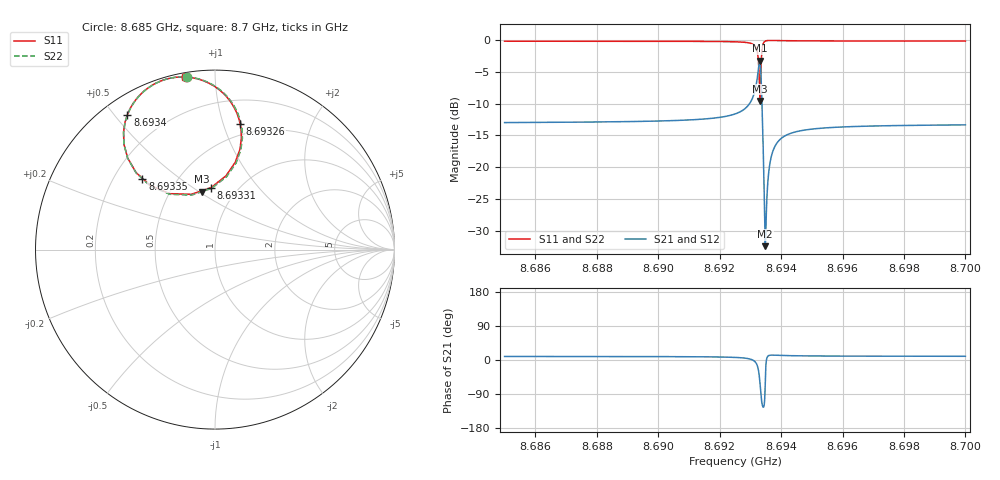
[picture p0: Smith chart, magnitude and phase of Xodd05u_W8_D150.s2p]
! Sonnet Data File
! From: emgraph Version : 16.52
! From Project: Qubit_Xmon2_brg_para2
! Data is De-embedded
! Data File Written: 11/12/2017 19:07:08
!< HDATE 11/12/2017 17:14:45
!< MDATE 11/12/2017 17:15:37
!< PARAMS
!< Lj = 11.0
!< Gap = 6.0
!< Pwid = 2000.0
!< Airgap = 6.0
!< Width = 10.0
!< Bwid = 8.0
!< Dis1 = 150.0
!< Dis2 = 156.0
!< END PARAMS
# GHZ S MA R 34.65000
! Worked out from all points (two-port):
!   3001 points, 8.685 GHz to 8.7 GHz, reference 34.65 ohm
!   highest |S21| = -3.30 dB at 8.69331 GHz (marker M1); lowest = -32.4 dB at 8.69349 GHz (marker M2)
!   |S21| within 3 dB of the highest: 8.693216 GHz to 8.693352 GHz (136.2 kHz wide, 0.00157 % of centre)
!   lowest |S11| = -9.6 dB at 8.69332 GHz (marker M3), VSWR 1.99, Z = 24.5 + j17.7 ohm
!   |S11| at or under -10 dB: nowhere
!   |S22| runs from -9.7 to -0.1 dB; largest |S21 - S12| = 0
!   S11 on the Smith chart (normalised r, x): 8.685 GHz: 0.02, +0.85; 8.69326 GHz: 0.40, +1.14; 8.69331 GHz: 0.76, +0.59; 8.69335 GHz: 0.32, +0.37; 8.6934 GHz: 0.07, +0.54; 8.7 GHz: 0.02, +0.84
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8.685  0.9745 99.5  0.2242 9.4  0.2242 9.4  0.9745 99.3
!< P1 F=8.685 Eeff=(5.13531798 -5.6615e-5) Z0=(34.6525852 -9.396e-5) R=0.0 C=0.0
!< P2 F=8.685 Eeff=(5.13531798 -5.6615e-5) Z0=(34.6525852 -9.396e-5) R=0.0 C=0.0
8.6875  0.9741 99.4  0.2261 9.2  0.2261 9.2  0.9741 99.1
8.69  0.973 99.1  0.2306 8.9  0.2306 8.9  0.973 98.8
8.6925  0.9641 97.2  0.2619 6.9  0.2619 6.9  0.9641 97.0
8.692885  0.9513 95.1  0.2973 4.3  0.2973 4.3  0.9513 94.8
8.693105  0.9161 90.8  0.3679 -1.5  0.3679 -1.5  0.916 90.5
8.69319  0.8608 86.1  0.4444 -8.7  0.4444 -8.7  0.8605 85.8
8.693255  0.7146 78.7  0.5688 -23.4  0.5688 -23.4  0.7138 78.2
8.693305  0.376 86.5  0.684 -53.8  0.684 -53.8  0.3721 85.9
8.69331  0.3458 93.8  0.6837 -58.4  0.6837 -58.4  0.3413 93.2
8.693315  0.3305 103.1  0.6783 -63.2  0.6783 -63.2  0.3255 102.8
8.693345  0.5629 135.9  0.5362 -92.7  0.5362 -92.7  0.5602 136.1
8.6934  0.8963 123.0  0.2054 -122.1  0.2054 -122.1  0.8956 123.0
8.69344  0.9547 116.4  0.08275 -122.4  0.08275 -122.4  0.9544 116.3
8.693485  0.9763 112.1  0.02408 -58.2  0.02408 -58.2  0.9762 112.0
8.693535  0.9844 109.3  0.05529 4.3  0.05529 4.3  0.9842 109.1
8.6936  0.9873 107.1  0.09255 11.7  0.09255 11.7  0.9872 106.9
8.693665  0.9876 105.7  0.1166 12.8  0.1166 12.8  0.9875 105.5
8.69385  0.9858 103.5  0.1531 12.6  0.1531 12.6  0.9858 103.4
8.695  0.9797 100.9  0.1994 10.7  0.1994 10.7  0.9797 100.7
8.6975  0.9772 100.1  0.212 10.0  0.212 10.0  0.9772 99.9
8.7  0.9766 99.9  0.2152 9.8  0.2152 9.8  0.9766 99.7
